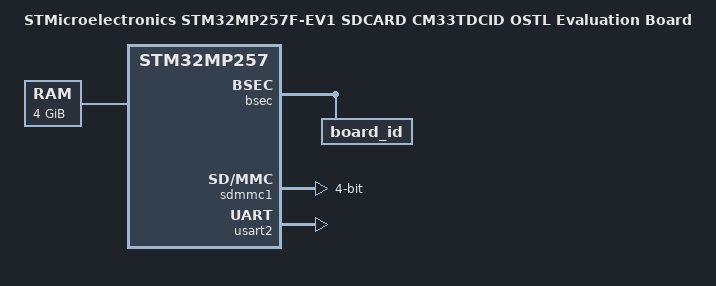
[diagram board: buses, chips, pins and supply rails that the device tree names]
// SPDX-License-Identifier: (GPL-2.0-only OR BSD-3-Clause)
/*
 * Copyright (C) STMicroelectronics 2023 - All Rights Reserved
 * Author: Alexandre Torgue <alexandre.torgue@foss.st.com> for STMicroelectronics.
 */

/dts-v1/;

#include <dt-bindings/clock/stm32mp25-clksrc.h>
#include "stm32mp257.dtsi"
#include "stm32mp25xf.dtsi"
#include "stm32mp257f-ev1-cm33tdcid-ostl-rcc.dtsi"
#include "stm32mp25-ddr4-2x16Gbits-2x16bits-1200MHz.dtsi"
#include "stm32mp25-pinctrl.dtsi"
#include "stm32mp25xxai-pinctrl.dtsi"

/ {
	model = "STMicroelectronics STM32MP257F-EV1 SDCARD CM33TDCID OSTL Evaluation Board";
	compatible = "st,stm32mp257f-ev1-cm33tdcid-ostl-sdcard", "st,stm32mp257f-ev1", "st,stm32mp257";

	aliases {
		serial0 = &usart2;
	};

	chosen {
		stdout-path = "serial0:115200n8";
	};

	memory@80000000 {
		device_type = "memory";
		reg = <0x0 0x80000000 0x1 0x00000000>;
		};

	cpu0_opp_table: cpu0-opp-table {
		compatible = "operating-points-v2";

		opp-1200000000 {
			opp-hz = /bits/ 64 <1200000000>;
			opp-microvolt = <800000>;
			opp-supported-hw = <0x3>;
			st,opp-default;
			st,pll = <&pll1_cfg_1200Mhz>;
		};

		opp-1500000000 {
			opp-hz = /bits/ 64 <1500000000>;
			opp-microvolt = <910000>;
			opp-supported-hw = <0x2>;
			st,pll = <&pll1_cfg_1500MHz>;
		};
	};
};

&bsec {
	board_id: board_id@3d8 {
		reg = <0x3d8 0x4>;
	};
};

&cpu0 {
	operating-points-v2 = <&cpu0_opp_table>;
};

&sdmmc1 {
	pinctrl-names = "default";
	pinctrl-0 = <&sdmmc1_b4_pins_a>;
	st,neg-edge;
	bus-width = <4>;
	status = "okay";
};

&usart2 {
	pinctrl-names = "default";
	pinctrl-0 = <&usart2_pins_a>;
	status = "okay";
};
